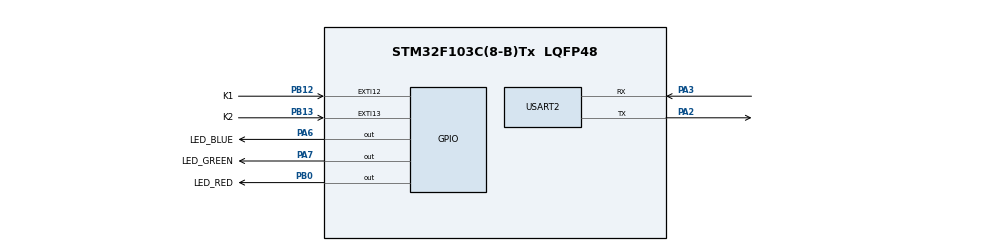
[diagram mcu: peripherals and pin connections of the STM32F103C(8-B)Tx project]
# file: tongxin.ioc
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Dma.Request0=USART2_RX
Dma.Request1=USART2_TX
Dma.USART2_RX.0.Direction=DMA_PERIPH_TO_MEMORY
Dma.USART2_RX.0.Instance=DMA1_Channel6
Dma.USART2_RX.0.MemDataAlignment=DMA_MDATAALIGN_BYTE
Dma.USART2_RX.0.MemInc=DMA_MINC_ENABLE
Dma.USART2_RX.0.Mode=DMA_NORMAL
Dma.USART2_RX.0.PeriphDataAlignment=DMA_PDATAALIGN_BYTE
Dma.USART2_RX.0.PeriphInc=DMA_PINC_DISABLE
Dma.USART2_RX.0.Priority=DMA_PRIORITY_LOW
Dma.USART2_TX.1.Direction=DMA_MEMORY_TO_PERIPH
Dma.USART2_TX.1.Instance=DMA1_Channel7
Dma.USART2_TX.1.MemDataAlignment=DMA_MDATAALIGN_BYTE
Dma.USART2_TX.1.MemInc=DMA_MINC_ENABLE
Dma.USART2_TX.1.Mode=DMA_NORMAL
Dma.USART2_TX.1.PeriphDataAlignment=DMA_PDATAALIGN_BYTE
Dma.USART2_TX.1.PeriphInc=DMA_PINC_DISABLE
Dma.USART2_TX.1.Priority=DMA_PRIORITY_LOW
Mcu.Family=STM32F1
Mcu.Name=STM32F103C(8-B)Tx
Mcu.Package=LQFP48
NVIC.DMA1_Channel6_IRQn=true\:0\:0\:false\:false\:true\:false\:true\:true
NVIC.DMA1_Channel7_IRQn=true\:0\:0\:false\:false\:true\:false\:true\:true
NVIC.EXTI15_10_IRQn=true\:0\:0\:false\:false\:true\:true\:true\:true
NVIC.PriorityGroup=NVIC_PRIORITYGROUP_4
NVIC.USART2_IRQn=true\:0\:0\:false\:false\:true\:true\:true\:true
PA13.Mode=Serial_Wire
PA13.Signal=SYS_JTMS-SWDIO
PA14.Mode=Serial_Wire
PA14.Signal=SYS_JTCK-SWCLK
PA2.Mode=Asynchronous
PA2.Signal=USART2_TX
PA3.Mode=Asynchronous
PA3.Signal=USART2_RX
PA6.GPIO_Label=LED_BLUE
PA6.Signal=GPIO_Output
PA7.GPIO_Label=LED_GREEN
PA7.Signal=GPIO_Output
PB0.GPIO_Label=LED_RED
PB0.Signal=GPIO_Output
PB12.GPIO_Label=K1
PB12.Signal=GPXTI12
PB13.GPIO_Label=K2
PB13.Signal=GPXTI13
PD0-OSC_IN.Mode=HSE-External-Oscillator
PD0-OSC_IN.Signal=RCC_OSC_IN
PD1-OSC_OUT.Mode=HSE-External-Oscillator
PD1-OSC_OUT.Signal=RCC_OSC_OUT
ProjectManager.HeapSize=0x200
ProjectManager.StackSize=0x400
ProjectManager.TargetToolchain=CMake
RCC.APB1Freq_Value=8000000
RCC.APB2Freq_Value=8000000
USART2.VirtualMode=VM_ASYNC
board=custom

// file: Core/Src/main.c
/* USER CODE BEGIN Header */
/**
  ******************************************************************************
  * @file           : main.c
  * @brief          : Main program body
  ******************************************************************************
  * @attention
  *
  * Copyright (c) 2025 STMicroelectronics.
  * All rights reserved.
  *
  * This software is licensed under terms that can be found in the LICENSE file
  * in the root directory of this software component.
  * If no LICENSE file comes with this software, it is provided AS-IS.
  *
  ******************************************************************************
  */
/* USER CODE END Header */
#include "main.h"
#include "dma.h"
#include "usart.h"
#include "gpio.h"

/* USER CODE BEGIN Includes */
#include "string.h"
#include "stdio.h"
/* USER CODE END Includes */

/* USER CODE BEGIN PV */
uint8_t receiveData[1000];
/* USER CODE END PV */

void SystemClock_Config(void);

/* USER CODE BEGIN 0 */

void HAL_UARTEx_RxEventCallback(UART_HandleTypeDef *huart, uint16_t Size) {
  if (huart==&huart2) {
    HAL_UART_Transmit_IT(&huart2, receiveData, Size);
    GPIO_PinState state=GPIO_PIN_SET;
    if (receiveData[1]=='0') {
      state=GPIO_PIN_RESET;
    }
    if (receiveData[0]=='R') {
      HAL_GPIO_WritePin(LED_RED_GPIO_Port, LED_RED_Pin, state);
    }else if (receiveData[0]=='B') {
      HAL_GPIO_WritePin(LED_BLUE_GPIO_Port, LED_BLUE_Pin, state);
    }else if (receiveData[0]=='G') {
      HAL_GPIO_WritePin(LED_GREEN_GPIO_Port, LED_GREEN_Pin, state);
    }
    HAL_UARTEx_ReceiveToIdle_IT(&huart2, receiveData,sizeof(receiveData));
  }
}
/* USER CODE END 0 */

int main(void)
{

  /* MCU Configuration--------------------------------------------------------*/

  /* Reset of all peripherals, Initializes the Flash interface and the Systick. */
  HAL_Init();

  /* Configure the system clock */
  SystemClock_Config();

  /* Initialize all configured peripherals */
  MX_GPIO_Init();
  MX_DMA_Init();
  MX_USART2_UART_Init();
  /* USER CODE BEGIN 2 */
  HAL_UART_Receive_IT(&huart2, receiveData,2);

  /* USER CODE END 2 */

  /* Infinite loop */
  while (1)
  {

  }
}

void SystemClock_Config(void)
{
  RCC_OscInitTypeDef RCC_OscInitStruct = {0};
  RCC_ClkInitTypeDef RCC_ClkInitStruct = {0};

  /** Initializes the RCC Oscillators according to the specified parameters
  * in the RCC_OscInitTypeDef structure.
  */
  RCC_OscInitStruct.OscillatorType = RCC_OSCILLATORTYPE_HSI;
  RCC_OscInitStruct.HSIState = RCC_HSI_ON;
  RCC_OscInitStruct.HSICalibrationValue = RCC_HSICALIBRATION_DEFAULT;
  RCC_OscInitStruct.PLL.PLLState = RCC_PLL_NONE;
  if (HAL_RCC_OscConfig(&RCC_OscInitStruct) != HAL_OK)
  {
    Error_Handler();
  }

  /** Initializes the CPU, AHB and APB buses clocks
  */
  RCC_ClkInitStruct.ClockType = RCC_CLOCKTYPE_HCLK|RCC_CLOCKTYPE_SYSCLK
                              |RCC_CLOCKTYPE_PCLK1|RCC_CLOCKTYPE_PCLK2;
  RCC_ClkInitStruct.SYSCLKSource = RCC_SYSCLKSOURCE_HSI;
  RCC_ClkInitStruct.AHBCLKDivider = RCC_SYSCLK_DIV1;
  RCC_ClkInitStruct.APB1CLKDivider = RCC_HCLK_DIV1;
  RCC_ClkInitStruct.APB2CLKDivider = RCC_HCLK_DIV1;

  if (HAL_RCC_ClockConfig(&RCC_ClkInitStruct, FLASH_LATENCY_0) != HAL_OK)
  {
    Error_Handler();
  }
}

void Error_Handler(void)
{
  __disable_irq();
  while (1)
  {
  }
}
